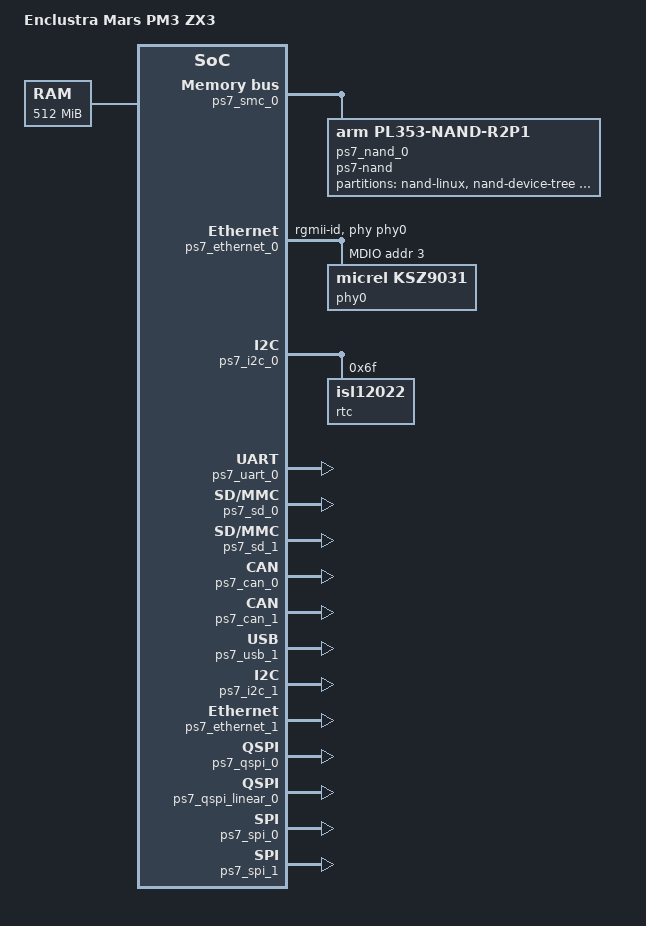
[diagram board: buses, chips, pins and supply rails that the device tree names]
/dts-v1/;
/include/ "zynq7-base.dtsi"
/ {
	model = "Enclustra Mars PM3 ZX3";

	chosen {
		bootargs = "console=ttyPS0,115200 earlyprintk";
		linux,stdout-path = &ps7_uart_1;
	} ;

	ps7_ddr_0: memory@0 {
		device_type = "memory";
		reg = < 0x0 0x20000000 >;  /* 512 MB */
	} ;

	ps7_axi_interconnect_0: amba@0 {

		ps7_smc_0: smc@0xe000e000 {
			#address-cells = <1>;
			#size-cells = <1>;
			arm,addr25 = <0x0>;
			arm,nor-chip-sel0 = <0x0>;
			arm,nor-chip-sel1 = <0x0>;
			arm,sram-chip-sel0 = <0x0>;
			arm,sram-chip-sel1 = <0x0>;
			clock-names = "memclk", "aclk";
			clocks = <&clkc 11>, <&clkc 44>;
			compatible = "arm,pl353-smc-r2p1";
			interrupt-parent = <&ps7_scugic_0>;
			interrupts = <0 18 4>;
			ranges ;
			reg = <0xe000e000 0x1000>;
			ps7_nand_0: ps7-nand@e1000000 {
				compatible = "arm,pl353-nand-r2p1";
				reg = <0xe1000000 0x1000000>;
				/* timings in smc cycles count */
				arm,nand-cycle-t0 = <3>; /* tRC */
				arm,nand-cycle-t1 = <3>; /* tWC */
				arm,nand-cycle-t2 = <1>; /* tREA */
				arm,nand-cycle-t3 = <2>; /* tWP */
				arm,nand-cycle-t4 = <2>; /* tCLR */
				arm,nand-cycle-t5 = <2>; /* tAR */
				arm,nand-cycle-t6 = <3>; /* tRR */
				#address-cells = <0x1>;
				#size-cells = <0x1>;

				partition@nand-linux {
					label = "nand-linux";
					reg = <0x0 0x500000>;
				};

				partition@nand-device-tree {
					label = "nand-device-tree";
					reg = <0x500000 0x100000>;
				};

				partition@nand-rootfs {
					label = "nand-rootfs";
					reg = <0x600000 0x000000>;
				};
			};
		} ;

		ps7_ethernet_0: ps7-ethernet@e000b000 {
			phy-handle = <&phy0>;
			phy-mode = "rgmii-id";
			mdio {
				phy0: phy@3 {
					compatible = "micrel,ksz9031";
					device_type = "ethernet-phy";
					reg = <0x3>;
				};
			} ;
		} ;

		ps7_i2c_0: ps7-i2c@e0004000 {

			rtc@6F {
				compatible = "isl12022";
				reg = <0x6F>;
			} ;
		} ;

		/* Disabled Devices */
		ps7_uart_0: serial@e0000000  { compatible = "invalid"; };
		ps7_sd_0: ps7-sdio@e0100000  { compatible = "invalid"; };
		ps7_sd_1: ps7-sdio@e0101000  { compatible = "invalid"; };
		ps7_wdt_0: ps7-wdt@f8005000  { compatible = "invalid"; };
		ps7_can_0: ps7-can@e0008000  { compatible = "invalid"; };
		ps7_can_1: ps7-can@e0009000  { compatible = "invalid"; };
		ps7_usb_1: ps7-usb@e0003000  { compatible = "invalid"; };
		ps7_dma_ns: ps7-dma@f8004000 { compatible =" invalid"; };
		ps7_i2c_1: ps7-i2c@e0005000  { compatible = "invalid"; };
		ps7_ethernet_1: ps7-ethernet@e000c000 { compatible = "invalid"; };
		ps7_qspi_0: ps7-qspi@e000d000 { compatible = "invalid"; };
		ps7_qspi_linear_0: ps7-qspi-linear@fc000000 { compatible = "invalid"; };
		ps7_spi_0: ps7-spi@e0006000  { compatible = "invalid"; };
		ps7_spi_1: ps7-spi@e0007000  { compatible = "invalid"; };
	} ;
} ;
